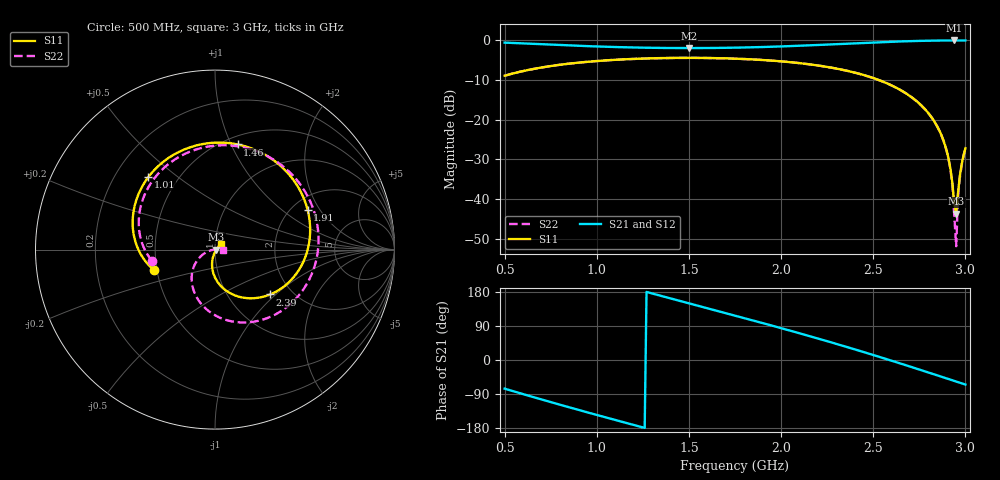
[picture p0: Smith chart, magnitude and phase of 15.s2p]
!freq-unit  param-type  data-format  keyword  impedance-ohms
# GHZ  S  RI  R  50
!Freq  ReS11  ImS11  ReS21  ImS21  ReS12  ImS12  ReS22  ImS22
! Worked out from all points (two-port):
!   251 points, 500 MHz to 3 GHz, reference 50 ohm
!   highest |S21| = -0.07 dB at 2.94 GHz (marker M1); lowest = -2.0 dB at 1.5 GHz (marker M2)
!   |S21| within 3 dB of the highest: start of sweep to end of sweep
!   lowest |S11| = -43.6 dB at 2.95 GHz (marker M3), VSWR 1.01, Z = 50.6 - j0.129 ohm
!   |S11| at or under -10 dB: 2.529 GHz to end of sweep
!   |S22| runs from -51.8 to -4.4 dB; largest |S21 - S12| = 0
!   S11 on the Smith chart (normalised r, x): 500 MHz: 0.48, -0.13; 1.01 GHz: 0.34, +0.40; 1.46 GHz: 0.58, +1.06; 1.91 GHz: 2.42, +1.56; 2.39 GHz: 1.56, -0.92; 3 GHz: 1.06, +0.06
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0.5  -0.3385 -0.1141  0.2314 -0.9022  0.2314 -0.9022  -0.3518 -0.0617
0.69  -0.446 0.0528  -0.1959 -0.8684  -0.1959 -0.8684  -0.425 0.1449
0.92  -0.4252 0.3114  -0.5905 -0.6058  -0.5905 -0.6058  -0.3212 0.4176
1.01  -0.3712 0.4043  -0.6921 -0.4613  -0.6921 -0.4613  -0.2294 0.4984
1.17  -0.2247 0.5318  -0.7924 -0.1769  -0.7924 -0.1769  -0.022 0.5766
1.34  -0.024 0.5941  -0.788 0.1326  -0.788 0.1326  0.2173 0.553
1.46  0.126 0.5859  -0.7203 0.3371  -0.7203 0.3371  0.369 0.4717
1.5  0.1748 0.5734  -0.6867 0.4006  -0.6867 0.4006  0.4129 0.4341
1.75  0.4295 0.3978  -0.3687 0.7153  -0.3687 0.7153  0.5727 0.1197
1.91  0.5162 0.2204  -0.0883 0.8165  -0.0883 0.8165  0.5513 -0.1037
2.17  0.4843 -0.0842  0.4208 0.7546  0.4208 0.7546  0.3276 -0.366
2.39  0.3074 -0.2499  0.7926 0.4488  0.7926 0.4488  0.0593 -0.3914
2.59  0.1088 -0.2541  0.9533 -0.00598  0.9533 -0.00598  -0.1082 -0.2541
2.75  0.00217 -0.1597  0.8862 -0.4162  0.8862 -0.4162  -0.1212 -0.1037
2.86  -0.016 -0.0702  0.7289 -0.6686  0.7289 -0.6686  -0.0666 -0.0264
2.91  -0.00751 -0.0304  0.6308 -0.7645  0.6308 -0.7645  -0.0301 -0.00631
2.93  -0.00129 -0.0155  0.5876 -0.7986  0.5876 -0.7986  -0.0142 -0.00144
2.94  0.0024 -0.00826  0.5652 -0.8146  0.5652 -0.8146  -0.00612 0.000294
2.95  0.00645 -0.00127  0.5423 -0.83  0.5423 -0.83  0.00206 0.00155
2.96  0.0109 0.0055  0.519 -0.8447  0.519 -0.8447  0.0103 0.00232
2.97  0.0156 0.012  0.4953 -0.8587  0.4953 -0.8587  0.0186 0.0026
3  0.0319 0.03  0.4218 -0.8962  0.4218 -0.8962  0.0433 0.000545
